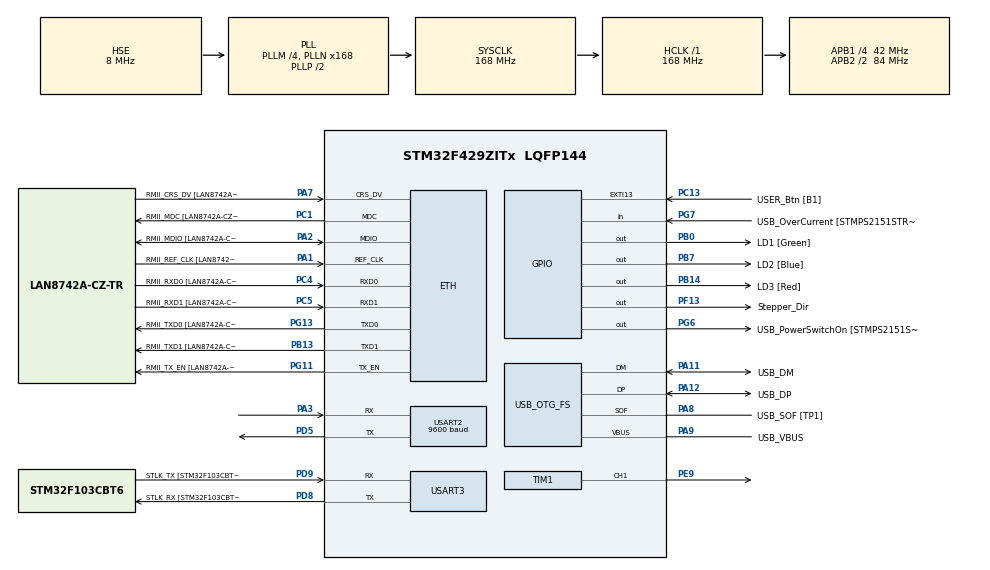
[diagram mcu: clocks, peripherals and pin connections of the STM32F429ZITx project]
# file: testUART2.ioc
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Dma.Request0=USART2_RX
Dma.Request1=USART2_TX
Dma.USART2_RX.0.Direction=DMA_PERIPH_TO_MEMORY
Dma.USART2_RX.0.FIFOMode=DMA_FIFOMODE_DISABLE
Dma.USART2_RX.0.Instance=DMA1_Stream5
Dma.USART2_RX.0.MemDataAlignment=DMA_MDATAALIGN_BYTE
Dma.USART2_RX.0.MemInc=DMA_MINC_ENABLE
Dma.USART2_RX.0.Mode=DMA_NORMAL
Dma.USART2_RX.0.PeriphDataAlignment=DMA_PDATAALIGN_BYTE
Dma.USART2_RX.0.PeriphInc=DMA_PINC_DISABLE
Dma.USART2_RX.0.Priority=DMA_PRIORITY_LOW
Dma.USART2_TX.1.Direction=DMA_MEMORY_TO_PERIPH
Dma.USART2_TX.1.FIFOMode=DMA_FIFOMODE_DISABLE
Dma.USART2_TX.1.Instance=DMA1_Stream6
Dma.USART2_TX.1.MemDataAlignment=DMA_MDATAALIGN_BYTE
Dma.USART2_TX.1.MemInc=DMA_MINC_ENABLE
Dma.USART2_TX.1.Mode=DMA_NORMAL
Dma.USART2_TX.1.PeriphDataAlignment=DMA_PDATAALIGN_BYTE
Dma.USART2_TX.1.PeriphInc=DMA_PINC_DISABLE
Dma.USART2_TX.1.Priority=DMA_PRIORITY_LOW
ETH.MediaInterface=HAL_ETH_RMII_MODE
ETH.PHY_Name=LAN8742A_PHY_ADDRESS
ETH.PHY_Value=0
ETH.PhyAddress=0
Mcu.Family=STM32F4
Mcu.Name=STM32F429ZITx
Mcu.Package=LQFP144
Mcu.UserConstants=MSG_LEN,16;MSG_FRONT,'\#';MSG_END,'\\n';BT_UART,$$_USART2_IP_HANDLE_$$
NVIC.DMA1_Stream5_IRQn=true\:0\:0\:false\:false\:true\:false\:true\:true
NVIC.DMA1_Stream6_IRQn=true\:0\:0\:false\:false\:true\:false\:true\:true
NVIC.EXTI15_10_IRQn=true\:0\:0\:false\:false\:true\:true\:true\:true
NVIC.PriorityGroup=NVIC_PRIORITYGROUP_4
NVIC.TIM1_UP_TIM10_IRQn=true\:0\:0\:false\:false\:true\:true\:true\:true
NVIC.USART2_IRQn=true\:0\:0\:false\:false\:true\:true\:true\:true
PA1.GPIO_Label=RMII_REF_CLK [LAN8742A-CZ-TR_REFCLK0]
PA1.Mode=RMII
PA1.Signal=ETH_REF_CLK
PA10.GPIO_Label=USB_ID
PA10.Signal=USB_OTG_FS_ID
PA11.GPIO_Label=USB_DM
PA11.Mode=Device_Only
PA11.Signal=USB_OTG_FS_DM
PA12.GPIO_Label=USB_DP
PA12.Mode=Device_Only
PA12.Signal=USB_OTG_FS_DP
PA13.GPIO_Label=TMS
PA13.Mode=Serial_Wire
PA13.Signal=SYS_JTMS-SWDIO
PA14.GPIO_Label=TCK
PA14.Mode=Serial_Wire
PA14.Signal=SYS_JTCK-SWCLK
PA2.GPIO_Label=RMII_MDIO [LAN8742A-CZ-TR_MDIO]
PA2.Mode=RMII
PA2.Signal=ETH_MDIO
PA3.Mode=Asynchronous
PA3.Signal=USART2_RX
PA7.GPIO_Label=RMII_CRS_DV [LAN8742A-CZ-TR_CRS_DV]
PA7.Mode=RMII
PA7.Signal=ETH_CRS_DV
PA8.GPIO_Label=USB_SOF [TP1]
PA8.Mode=Activate_SOF_FS
PA8.Signal=USB_OTG_FS_SOF
PA9.GPIO_Label=USB_VBUS
PA9.Mode=Activate_VBUS
PA9.Signal=USB_OTG_FS_VBUS
PB0.GPIO_Label=LD1 [Green]
PB0.Signal=GPIO_Output
PB13.GPIO_Label=RMII_TXD1 [LAN8742A-CZ-TR_TXD1]
PB13.Mode=RMII
PB13.Signal=ETH_TXD1
PB14.GPIO_Label=LD3 [Red]
PB14.Signal=GPIO_Output
PB7.GPIO_Label=LD2 [Blue]
PB7.Signal=GPIO_Output
PC1.GPIO_Label=RMII_MDC [LAN8742A-CZ-TR_MDC]
PC1.Mode=RMII
PC1.Signal=ETH_MDC
PC13.GPIO_Label=USER_Btn [B1]
PC13.Signal=GPXTI13
PC14/OSC32_IN.Mode=LSE-External-Oscillator
PC14/OSC32_IN.Signal=RCC_OSC32_IN
PC15/OSC32_OUT.Mode=LSE-External-Oscillator
PC15/OSC32_OUT.Signal=RCC_OSC32_OUT
PC4.GPIO_Label=RMII_RXD0 [LAN8742A-CZ-TR_RXD0]
PC4.Mode=RMII
PC4.Signal=ETH_RXD0
PC5.GPIO_Label=RMII_RXD1 [LAN8742A-CZ-TR_RXD1]
PC5.Mode=RMII
PC5.Signal=ETH_RXD1
PD5.Mode=Asynchronous
PD5.Signal=USART2_TX
PD8.GPIO_Label=STLK_RX [STM32F103CBT6_PA3]
PD8.Mode=Asynchronous
PD8.Signal=USART3_TX
PD9.GPIO_Label=STLK_TX [STM32F103CBT6_PA2]
PD9.Mode=Asynchronous
PD9.Signal=USART3_RX
PE9.Signal=S_TIM1_CH1
PF13.GPIO_Label=Stepper_Dir
PF13.Signal=GPIO_Output
PG11.GPIO_Label=RMII_TX_EN [LAN8742A-CZ-TR_TXEN]
PG11.Mode=RMII
PG11.Signal=ETH_TX_EN
PG13.GPIO_Label=RMII_TXD0 [LAN8742A-CZ-TR_TXD0]
PG13.Mode=RMII
PG13.Signal=ETH_TXD0
PG6.GPIO_Label=USB_PowerSwitchOn [STMPS2151STR_EN]
PG6.Signal=GPIO_Output
PG7.GPIO_Label=USB_OverCurrent [STMPS2151STR_FAULT]
PG7.Signal=GPIO_Input
PH0/OSC_IN.GPIO_Label=MCO [STM32F103CBT6_PA8]
PH0/OSC_IN.Mode=HSE-External-Clock-Source
PH0/OSC_IN.Signal=RCC_OSC_IN
PH1/OSC_OUT.Mode=HSE-External-Clock-Source
PH1/OSC_OUT.Signal=RCC_OSC_OUT
ProjectManager.HeapSize=0x200
ProjectManager.StackSize=0x400
ProjectManager.TargetToolchain=STM32CubeIDE
RCC.48MHZClocksFreq_Value=48000000
RCC.AHBFreq_Value=168000000
RCC.APB1CLKDivider=RCC_HCLK_DIV4
RCC.APB1Freq_Value=42000000
RCC.APB1TimFreq_Value=84000000
RCC.APB2CLKDivider=RCC_HCLK_DIV2
RCC.APB2Freq_Value=84000000
RCC.APB2TimCLKDivider=2
RCC.APB2TimFreq_Value=168000000
RCC.CortexFreq_Value=168000000
RCC.HCLKFreq_Value=168000000
RCC.HSE_VALUE=8000000
RCC.HSI_VALUE=16000000
RCC.PLLM=4
RCC.PLLMUL=RCC_PLL_MUL9
RCC.PLLN=168
RCC.PLLQ=7
RCC.PRESCALERUSB=RCC_USBCLKSOURCE_PLL_DIV1_5
RCC.SYSCLKFreq_VALUE=168000000
RCC.SYSCLKSource=RCC_SYSCLKSOURCE_PLLCLK
RCC.SYSCLKSourceVirtual=RCC_SYSCLKSOURCE_PLLCLK
RCC.USBFreq_Value=48000000
RCC.VCOOutputFreq_Value=336000000
SH.S_TIM1_CH1.0=TIM1_CH1,PWM Generation1 CH1
TIM1.Channel-PWM\ Generation1\ CH1=TIM_CHANNEL_1
TIM1.OCMode_PWM-PWM\ Generation1\ CH1=TIM_OCMODE_PWM2
TIM1.OCPolarity_1=TIM_OCPOLARITY_LOW
TIM1.Period=1000
TIM1.Prescaler=167
TIM1.Pulse-PWM\ Generation1\ CH1=9
TIM1.TIM_MasterOutputTrigger=TIM_TRGO_UPDATE
USART2.BaudRate=9600
USART2.VirtualMode=VM_ASYNC
USART3.VirtualMode=VM_ASYNC
USB_OTG_FS.VirtualMode=Device_Only
VP_TIM1_VS_ClockSourceINT.Mode=Internal
board=NUCLEO-F429ZI

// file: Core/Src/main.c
/* USER CODE BEGIN Header */
/**
  ******************************************************************************
  * @file           : main.c
  * @brief          : Main program body
  ******************************************************************************
  * @attention
  *
  * Copyright (c) 2024 STMicroelectronics.
  * All rights reserved.
  *
  * This software is licensed under terms that can be found in the LICENSE file
  * in the root directory of this software component.
  * If no LICENSE file comes with this software, it is provided AS-IS.
  *
  ******************************************************************************
  */
/* USER CODE END Header */
#include "main.h"
#include "string.h"

/* USER CODE BEGIN PD */

#define STEPPER_TIMER &htim1
#define STEPPER_INTERVAL 1000
/* USER CODE END PD */

ETH_TxPacketConfig TxConfig;
ETH_DMADescTypeDef  DMARxDscrTab[ETH_RX_DESC_CNT]; /* Ethernet Rx DMA Descriptors */
ETH_DMADescTypeDef  DMATxDscrTab[ETH_TX_DESC_CNT]; /* Ethernet Tx DMA Descriptors */

ETH_HandleTypeDef heth;

TIM_HandleTypeDef htim1;

UART_HandleTypeDef huart2;
UART_HandleTypeDef huart3;
DMA_HandleTypeDef hdma_usart2_rx;
DMA_HandleTypeDef hdma_usart2_tx;

PCD_HandleTypeDef hpcd_USB_OTG_FS;

/* USER CODE BEGIN PV */
#include "bluetooth.h"
#include "stepper.h"
/* USER CODE END PV */

void SystemClock_Config(void);
static void MX_GPIO_Init(void);
static void MX_DMA_Init(void);
static void MX_ETH_Init(void);
static void MX_USART3_UART_Init(void);
static void MX_USB_OTG_FS_PCD_Init(void);
static void MX_USART2_UART_Init(void);
static void MX_TIM1_Init(void);
/* USER CODE BEGIN PFP */
void txCplt();
void getCMD(const uint8_t *cmd);

void Process_CMD();
/* USER CODE END PFP */

/* USER CODE BEGIN 0 */
uint8_t flag[1], cmd[MSG_LEN-1];
HAL_UART_RxEventTypeTypeDef eventtype;
uint8_t tmp_rx[MSG_LEN], tmp_tx[MSG_LEN];

uint16_t interval = 1000;
int steps;
uint16_t distance = 2700;
uint8_t curr_shelf = 3, desti_shelf;

/* USER CODE END 0 */

int main(void)
{

  /* MCU Configuration--------------------------------------------------------*/

  /* Reset of all peripherals, Initializes the Flash interface and the Systick. */
  HAL_Init();

  /* Configure the system clock */
  SystemClock_Config();

  /* Initialize all configured peripherals */
  MX_GPIO_Init();
  MX_DMA_Init();
  MX_ETH_Init();
  MX_USART3_UART_Init();
  MX_USB_OTG_FS_PCD_Init();
  MX_USART2_UART_Init();
  MX_TIM1_Init();
  /* USER CODE BEGIN 2 */
  Stepper_Config(STEPPER_TIMER, TIM_CHANNEL_1, STEPPER_INTERVAL, Stepper_Dir_GPIO_Port, Stepper_Dir_Pin);
  BT_Config(txCplt, getCMD);
  HAL_GPIO_WritePin(LD3_GPIO_Port, LD3_Pin, RESET);
  HAL_GPIO_WritePin(LD3_GPIO_Port, LD2_Pin, RESET);

  BT_Transmit_Str("AutoBookshelf");
  BT_StartGetCMD();
  /* USER CODE END 2 */

  /* Infinite loop */
  while (1)
  {

  }
}

void SystemClock_Config(void)
{
  RCC_OscInitTypeDef RCC_OscInitStruct = {0};
  RCC_ClkInitTypeDef RCC_ClkInitStruct = {0};

  /** Configure the main internal regulator output voltage
  */
  __HAL_RCC_PWR_CLK_ENABLE();
  __HAL_PWR_VOLTAGESCALING_CONFIG(PWR_REGULATOR_VOLTAGE_SCALE1);

  /** Initializes the RCC Oscillators according to the specified parameters
  * in the RCC_OscInitTypeDef structure.
  */
  RCC_OscInitStruct.OscillatorType = RCC_OSCILLATORTYPE_HSE;
  RCC_OscInitStruct.HSEState = RCC_HSE_BYPASS;
  RCC_OscInitStruct.PLL.PLLState = RCC_PLL_ON;
  RCC_OscInitStruct.PLL.PLLSource = RCC_PLLSOURCE_HSE;
  RCC_OscInitStruct.PLL.PLLM = 4;
  RCC_OscInitStruct.PLL.PLLN = 168;
  RCC_OscInitStruct.PLL.PLLP = RCC_PLLP_DIV2;
  RCC_OscInitStruct.PLL.PLLQ = 7;
  if (HAL_RCC_OscConfig(&RCC_OscInitStruct) != HAL_OK)
  {
    Error_Handler();
  }

  /** Initializes the CPU, AHB and APB buses clocks
  */
  RCC_ClkInitStruct.ClockType = RCC_CLOCKTYPE_HCLK|RCC_CLOCKTYPE_SYSCLK
                              |RCC_CLOCKTYPE_PCLK1|RCC_CLOCKTYPE_PCLK2;
  RCC_ClkInitStruct.SYSCLKSource = RCC_SYSCLKSOURCE_PLLCLK;
  RCC_ClkInitStruct.AHBCLKDivider = RCC_SYSCLK_DIV1;
  RCC_ClkInitStruct.APB1CLKDivider = RCC_HCLK_DIV4;
  RCC_ClkInitStruct.APB2CLKDivider = RCC_HCLK_DIV2;

  if (HAL_RCC_ClockConfig(&RCC_ClkInitStruct, FLASH_LATENCY_5) != HAL_OK)
  {
    Error_Handler();
  }
}

static void MX_ETH_Init(void)
{

   static uint8_t MACAddr[6];

  heth.Instance = ETH;
  MACAddr[0] = 0x00;
  MACAddr[1] = 0x80;
  MACAddr[2] = 0xE1;
  MACAddr[3] = 0x00;
  MACAddr[4] = 0x00;
  MACAddr[5] = 0x00;
  heth.Init.MACAddr = &MACAddr[0];
  heth.Init.MediaInterface = HAL_ETH_RMII_MODE;
  heth.Init.TxDesc = DMATxDscrTab;
  heth.Init.RxDesc = DMARxDscrTab;
  heth.Init.RxBuffLen = 1524;

  if (HAL_ETH_Init(&heth) != HAL_OK)
  {
    Error_Handler();
  }

  memset(&TxConfig, 0 , sizeof(ETH_TxPacketConfig));
  TxConfig.Attributes = ETH_TX_PACKETS_FEATURES_CSUM | ETH_TX_PACKETS_FEATURES_CRCPAD;
  TxConfig.ChecksumCtrl = ETH_CHECKSUM_IPHDR_PAYLOAD_INSERT_PHDR_CALC;
  TxConfig.CRCPadCtrl = ETH_CRC_PAD_INSERT;

}

static void MX_TIM1_Init(void)
{

  TIM_ClockConfigTypeDef sClockSourceConfig = {0};
  TIM_MasterConfigTypeDef sMasterConfig = {0};
  TIM_OC_InitTypeDef sConfigOC = {0};
  TIM_BreakDeadTimeConfigTypeDef sBreakDeadTimeConfig = {0};

  htim1.Instance = TIM1;
  htim1.Init.Prescaler = 167;
  htim1.Init.CounterMode = TIM_COUNTERMODE_UP;
  htim1.Init.Period = 1000;
  htim1.Init.ClockDivision = TIM_CLOCKDIVISION_DIV1;
  htim1.Init.RepetitionCounter = 0;
  htim1.Init.AutoReloadPreload = TIM_AUTORELOAD_PRELOAD_DISABLE;
  if (HAL_TIM_Base_Init(&htim1) != HAL_OK)
  {
    Error_Handler();
  }
  sClockSourceConfig.ClockSource = TIM_CLOCKSOURCE_INTERNAL;
  if (HAL_TIM_ConfigClockSource(&htim1, &sClockSourceConfig) != HAL_OK)
  {
    Error_Handler();
  }
  if (HAL_TIM_PWM_Init(&htim1) != HAL_OK)
  {
    Error_Handler();
  }
  sMasterConfig.MasterOutputTrigger = TIM_TRGO_UPDATE;
  sMasterConfig.MasterSlaveMode = TIM_MASTERSLAVEMODE_DISABLE;
  if (HAL_TIMEx_MasterConfigSynchronization(&htim1, &sMasterConfig) != HAL_OK)
  {
    Error_Handler();
  }
  sConfigOC.OCMode = TIM_OCMODE_PWM2;
  sConfigOC.Pulse = 9;
  sConfigOC.OCPolarity = TIM_OCPOLARITY_LOW;
  sConfigOC.OCNPolarity = TIM_OCNPOLARITY_HIGH;
  sConfigOC.OCFastMode = TIM_OCFAST_DISABLE;
  sConfigOC.OCIdleState = TIM_OCIDLESTATE_RESET;
  sConfigOC.OCNIdleState = TIM_OCNIDLESTATE_RESET;
  if (HAL_TIM_PWM_ConfigChannel(&htim1, &sConfigOC, TIM_CHANNEL_1) != HAL_OK)
  {
    Error_Handler();
  }
  sBreakDeadTimeConfig.OffStateRunMode = TIM_OSSR_DISABLE;
  sBreakDeadTimeConfig.OffStateIDLEMode = TIM_OSSI_DISABLE;
  sBreakDeadTimeConfig.LockLevel = TIM_LOCKLEVEL_OFF;
  sBreakDeadTimeConfig.DeadTime = 0;
  sBreakDeadTimeConfig.BreakState = TIM_BREAK_DISABLE;
  sBreakDeadTimeConfig.BreakPolarity = TIM_BREAKPOLARITY_HIGH;
  sBreakDeadTimeConfig.AutomaticOutput = TIM_AUTOMATICOUTPUT_DISABLE;
  if (HAL_TIMEx_ConfigBreakDeadTime(&htim1, &sBreakDeadTimeConfig) != HAL_OK)
  {
    Error_Handler();
  }
  HAL_TIM_MspPostInit(&htim1);

}

static void MX_USART2_UART_Init(void)
{

  huart2.Instance = USART2;
  huart2.Init.BaudRate = 9600;
  huart2.Init.WordLength = UART_WORDLENGTH_8B;
  huart2.Init.StopBits = UART_STOPBITS_1;
  huart2.Init.Parity = UART_PARITY_NONE;
  huart2.Init.Mode = UART_MODE_TX_RX;
  huart2.Init.HwFlowCtl = UART_HWCONTROL_NONE;
  huart2.Init.OverSampling = UART_OVERSAMPLING_16;
  if (HAL_UART_Init(&huart2) != HAL_OK)
  {
    Error_Handler();
  }

}

static void MX_USART3_UART_Init(void)
{

  huart3.Instance = USART3;
  huart3.Init.BaudRate = 115200;
  huart3.Init.WordLength = UART_WORDLENGTH_8B;
  huart3.Init.StopBits = UART_STOPBITS_1;
  huart3.Init.Parity = UART_PARITY_NONE;
  huart3.Init.Mode = UART_MODE_TX_RX;
  huart3.Init.HwFlowCtl = UART_HWCONTROL_NONE;
  huart3.Init.OverSampling = UART_OVERSAMPLING_16;
  if (HAL_UART_Init(&huart3) != HAL_OK)
  {
    Error_Handler();
  }

}

static void MX_USB_OTG_FS_PCD_Init(void)
{

  hpcd_USB_OTG_FS.Instance = USB_OTG_FS;
  hpcd_USB_OTG_FS.Init.dev_endpoints = 4;
  hpcd_USB_OTG_FS.Init.speed = PCD_SPEED_FULL;
  hpcd_USB_OTG_FS.Init.dma_enable = DISABLE;
  hpcd_USB_OTG_FS.Init.phy_itface = PCD_PHY_EMBEDDED;
  hpcd_USB_OTG_FS.Init.Sof_enable = ENABLE;
  hpcd_USB_OTG_FS.Init.low_power_enable = DISABLE;
  hpcd_USB_OTG_FS.Init.lpm_enable = DISABLE;
  hpcd_USB_OTG_FS.Init.vbus_sensing_enable = ENABLE;
  hpcd_USB_OTG_FS.Init.use_dedicated_ep1 = DISABLE;
  if (HAL_PCD_Init(&hpcd_USB_OTG_FS) != HAL_OK)
  {
    Error_Handler();
  }

}

static void MX_DMA_Init(void)
{

  /* DMA controller clock enable */
  __HAL_RCC_DMA1_CLK_ENABLE();

  /* DMA interrupt init */
  /* DMA1_Stream5_IRQn interrupt configuration */
  HAL_NVIC_SetPriority(DMA1_Stream5_IRQn, 0, 0);
  HAL_NVIC_EnableIRQ(DMA1_Stream5_IRQn);
  /* DMA1_Stream6_IRQn interrupt configuration */
  HAL_NVIC_SetPriority(DMA1_Stream6_IRQn, 0, 0);
  HAL_NVIC_EnableIRQ(DMA1_Stream6_IRQn);

}

static void MX_GPIO_Init(void)
{
  GPIO_InitTypeDef GPIO_InitStruct = {0};

  /* GPIO Ports Clock Enable */
  __HAL_RCC_GPIOC_CLK_ENABLE();
  __HAL_RCC_GPIOH_CLK_ENABLE();
  __HAL_RCC_GPIOA_CLK_ENABLE();
  __HAL_RCC_GPIOB_CLK_ENABLE();
  __HAL_RCC_GPIOF_CLK_ENABLE();
  __HAL_RCC_GPIOE_CLK_ENABLE();
  __HAL_RCC_GPIOD_CLK_ENABLE();
  __HAL_RCC_GPIOG_CLK_ENABLE();

  /*Configure GPIO pin Output Level */
  HAL_GPIO_WritePin(GPIOB, LD1_Pin|LD3_Pin|LD2_Pin, GPIO_PIN_RESET);

  /*Configure GPIO pin Output Level */
  HAL_GPIO_WritePin(Stepper_Dir_GPIO_Port, Stepper_Dir_Pin, GPIO_PIN_RESET);

  /*Configure GPIO pin Output Level */
  HAL_GPIO_WritePin(USB_PowerSwitchOn_GPIO_Port, USB_PowerSwitchOn_Pin, GPIO_PIN_RESET);

  /*Configure GPIO pin : USER_Btn_Pin */
  GPIO_InitStruct.Pin = USER_Btn_Pin;
  GPIO_InitStruct.Mode = GPIO_MODE_IT_RISING;
  GPIO_InitStruct.Pull = GPIO_NOPULL;
  HAL_GPIO_Init(USER_Btn_GPIO_Port, &GPIO_InitStruct);

  /*Configure GPIO pins : LD1_Pin LD3_Pin LD2_Pin */
  GPIO_InitStruct.Pin = LD1_Pin|LD3_Pin|LD2_Pin;
  GPIO_InitStruct.Mode = GPIO_MODE_OUTPUT_PP;
  GPIO_InitStruct.Pull = GPIO_NOPULL;
  GPIO_InitStruct.Speed = GPIO_SPEED_FREQ_LOW;
  HAL_GPIO_Init(GPIOB, &GPIO_InitStruct);

  /*Configure GPIO pin : Stepper_Dir_Pin */
  GPIO_InitStruct.Pin = Stepper_Dir_Pin;
  GPIO_InitStruct.Mode = GPIO_MODE_OUTPUT_PP;
  GPIO_InitStruct.Pull = GPIO_NOPULL;
  GPIO_InitStruct.Speed = GPIO_SPEED_FREQ_LOW;
  HAL_GPIO_Init(Stepper_Dir_GPIO_Port, &GPIO_InitStruct);

  /*Configure GPIO pin : USB_PowerSwitchOn_Pin */
  GPIO_InitStruct.Pin = USB_PowerSwitchOn_Pin;
  GPIO_InitStruct.Mode = GPIO_MODE_OUTPUT_PP;
  GPIO_InitStruct.Pull = GPIO_NOPULL;
  GPIO_InitStruct.Speed = GPIO_SPEED_FREQ_LOW;
  HAL_GPIO_Init(USB_PowerSwitchOn_GPIO_Port, &GPIO_InitStruct);

  /*Configure GPIO pin : USB_OverCurrent_Pin */
  GPIO_InitStruct.Pin = USB_OverCurrent_Pin;
  GPIO_InitStruct.Mode = GPIO_MODE_INPUT;
  GPIO_InitStruct.Pull = GPIO_NOPULL;
  HAL_GPIO_Init(USB_OverCurrent_GPIO_Port, &GPIO_InitStruct);

  /* EXTI interrupt init*/
  HAL_NVIC_SetPriority(EXTI15_10_IRQn, 0, 0);
  HAL_NVIC_EnableIRQ(EXTI15_10_IRQn);

}

/* USER CODE BEGIN 4 */

void txCplt()
{

}

void getCMD(const uint8_t *cmd)
{
	HAL_GPIO_WritePin(LD2_GPIO_Port, LD2_Pin, SET);
	memset(tmp_rx, 0, sizeof(uint8_t)*MSG_LEN);
	memcpy(tmp_rx, cmd, sizeof(uint8_t)*MSG_LEN);

	Process_CMD();
}

void Process_CMD()
{
	if(tmp_rx[1] == 's')
	{
		desti_shelf = (tmp_rx[2]-'0')*100 + (tmp_rx[3]-'0')*10 + (tmp_rx[4]-'0')*1;
		if(desti_shelf == curr_shelf)
		{
			while(BT_Transmit_Str("Not Change") == 0){}
		}
		Stepper_Rotate((desti_shelf-curr_shelf)*distance);
	}
}

void HAL_TIM_PeriodElapsedCallback(TIM_HandleTypeDef *htim)
{
	if(htim == STEPPER_TIMER)
	{
		Stepper_Step_Cplt();
	}
}

void Stepper_Rotate_Cplt_CB()
{
	curr_shelf = desti_shelf;
	while(BT_Transmit_Str("Rotate Cplt") == 0){}
}
/* USER CODE END 4 */

void Error_Handler(void)
{
  __disable_irq();
  while (1)
  {
  }
}
